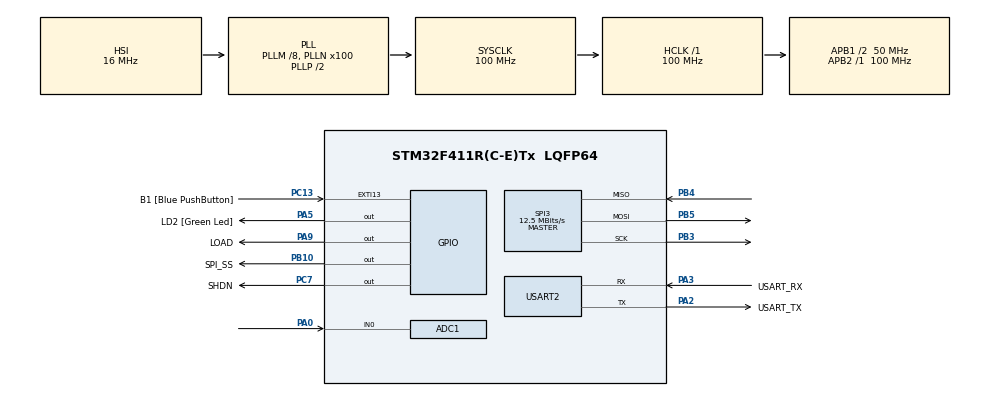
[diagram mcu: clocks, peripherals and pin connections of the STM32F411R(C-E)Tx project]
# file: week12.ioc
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Mcu.Family=STM32F4
PB10.PinState=GPIO_PIN_SET
RCC.CortexFreq_Value=100000000
SPI3.Direction=SPI_DIRECTION_2LINES
SPI3.VirtualType=VM_MASTER
PA14.GPIO_Label=TCK
RCC.SYSCLKSource=RCC_SYSCLKSOURCE_PLLCLK
ProjectManager.StackSize=0x400
NVIC.ADC_IRQn=true\:0\:0\:false\:false\:true\:true\:true
PH0\ -\ OSC_IN.Signal=RCC_OSC_IN
RCC.HCLKFreq_Value=100000000
RCC.APB2TimFreq_Value=100000000
TIM3.Period=100
Dma.ADC1.0.Direction=DMA_PERIPH_TO_MEMORY
PC7.Signal=GPIO_Output
NVIC.DMA2_Stream0_IRQn=true\:0\:0\:false\:false\:true\:false\:true
Dma.ADC1.0.MemDataAlignment=DMA_MDATAALIGN_HALFWORD
RCC.AHBFreq_Value=100000000
SPI3.DataSize=SPI_DATASIZE_16BIT
ADC1.Channel-0\#ChannelRegularConversion=ADC_CHANNEL_0
NVIC.TIM1_TRG_COM_TIM11_IRQn=true\:0\:0\:false\:false\:true\:true\:true
RCC.HSE_VALUE=8000000
PB3.Mode=Full_Duplex_Master
ADC1.ScanConvMode=ENABLE
PC13-ANTI_TAMP.Signal=GPXTI13
PB4.Mode=Full_Duplex_Master
PC14-OSC32_IN.Mode=LSE-External-Oscillator
PA14.Mode=Serial_Wire
TIM3.Prescaler=99
Dma.ADC1.0.PeriphInc=DMA_PINC_DISABLE
PB5.Mode=Full_Duplex_Master
PC7.PinState=GPIO_PIN_SET
SH.ADCx_IN0.0=ADC1_IN0,IN0
ADC1.SamplingTime-0\#ChannelRegularConversion=ADC_SAMPLETIME_3CYCLES
RCC.FLatency-AdvancedSettings=FLASH_LATENCY_3
Mcu.Package=LQFP64
SPI3.Mode=SPI_MODE_MASTER
USART2.VirtualMode=VM_ASYNC
PA2.GPIO_Label=USART_TX
NVIC.SPI3_IRQn=true\:0\:0\:false\:false\:true\:true\:true
RCC.APB1TimFreq_Value=100000000
Dma.ADC1.0.FIFOMode=DMA_FIFOMODE_DISABLE
Dma.Request0=ADC1
VP_TIM3_VS_ClockSourceINT.Mode=Internal
PB4.Signal=SPI3_MISO
PA3.Signal=USART2_RX
PC15-OSC32_OUT.Mode=LSE-External-Oscillator
Dma.ADC1.0.Instance=DMA2_Stream0
ADC1.Rank-0\#ChannelRegularConversion=1
PC13-ANTI_TAMP.GPIO_Label=B1 [Blue PushButton]
PA9.GPIO_Label=LOAD
PH1\ -\ OSC_OUT.Mode=HSE-External-Clock-Source
TIM11.Prescaler=99
RCC.APB1CLKDivider=RCC_HCLK_DIV2
PC14-OSC32_IN.Signal=RCC_OSC32_IN
NVIC.USART2_IRQn=true\:0\:0\:false\:false\:true\:true\:true
PA0-WKUP.Signal=ADCx_IN0
VP_TIM11_VS_ClockSourceINT.Mode=Enable_Timer
PA13.Signal=SYS_JTMS-SWDIO
PA3.Mode=Asynchronous
Dma.ADC1.0.PeriphDataAlignment=DMA_PDATAALIGN_HALFWORD
PH0\ -\ OSC_IN.Mode=HSE-External-Clock-Source
ProjectManager.TargetToolchain=STM32CubeIDE
PB10.GPIO_Label=SPI_SS
Dma.ADC1.0.Mode=DMA_CIRCULAR
Dma.ADC1.0.Priority=DMA_PRIORITY_LOW
PA9.Signal=GPIO_Output
PA9.PinState=GPIO_PIN_SET
PC15-OSC32_OUT.Signal=RCC_OSC32_OUT
PB10.Signal=GPIO_Output
PA5.Signal=GPIO_Output
PH1\ -\ OSC_OUT.Signal=RCC_OSC_OUT
board=NUCLEO-F411RE
RCC.VCOOutputFreq_Value=200000000
RCC.APB2Freq_Value=100000000
SPI3.CalculateBaudRate=12.5 MBits/s
SPI3.BaudRatePrescaler=SPI_BAUDRATEPRESCALER_4
ADC1.DMAContinuousRequests=ENABLE
ADC1.NbrOfConversion=1
PA13.Mode=Serial_Wire
Mcu.Name=STM32F411R(C-E)Tx
PA2.Signal=USART2_TX
PA13.GPIO_Label=TMS
ADC1.ExternalTrigConv=ADC_EXTERNALTRIGCONV_T3_TRGO
PC7.GPIO_Label=SHDN
RCC.48MHZClocksFreq_Value=50000000
PB3.Signal=SPI3_SCK
RCC.SYSCLKFreq_VALUE=100000000
PB5.Signal=SPI3_MOSI
ADC1.master=1
PA5.GPIO_Label=LD2 [Green Led]
PC13-ANTI_TAMP.GPIO_ModeDefaultEXTI=GPIO_MODE_IT_FALLING
PA14.Signal=SYS_JTCK-SWCLK
Dma.ADC1.0.MemInc=DMA_MINC_ENABLE
ProjectManager.HeapSize=0x200
RCC.HSI_VALUE=16000000
NVIC.PriorityGroup=NVIC_PRIORITYGROUP_0
ADC1.NbrOfConversionFlag=1
RCC.PLLM=8
RCC.PLLN=100
PA2.Mode=Asynchronous
TIM3.TIM_MasterOutputTrigger=TIM_TRGO_UPDATE
RCC.APB1Freq_Value=50000000
PA3.GPIO_Label=USART_RX

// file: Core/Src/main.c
/* USER CODE BEGIN Header */
/**
 ******************************************************************************
 * @file           : main.c
 * @brief          : Main program body
 ******************************************************************************
 * @attention
 *
 * <h2><center>&copy; Copyright (c) 2021 STMicroelectronics.
 * All rights reserved.</center></h2>
 *
 * This software component is licensed by ST under BSD 3-Clause license,
 * the "License"; You may not use this file except in compliance with the
 * License. You may obtain a copy of the License at:
 *                        opensource.org/licenses/BSD-3-Clause
 *
 ******************************************************************************
 */
/* USER CODE END Header */
#include "main.h"

/* USER CODE BEGIN Includes */
#include <math.h>//sin cos
#include <stdio.h> //sprintf
#include <string.h>//strlen
/* USER CODE END Includes */

ADC_HandleTypeDef hadc1;
DMA_HandleTypeDef hdma_adc1;

SPI_HandleTypeDef hspi3;

TIM_HandleTypeDef htim3;
TIM_HandleTypeDef htim11;

UART_HandleTypeDef huart2;

/* USER CODE BEGIN PV */
uint8_t DACConfig = 0b0011;
uint8_t State 		=1 ;
uint8_t Mode		=0 ;
uint8_t Slope		= 1;
uint8_t	Duty_C		=50;

uint16_t ADCin 		= 0;
uint16_t dataOut	= 0;

uint64_t _micro 	= 0;

float Freq 			= 1;
float Freq_Saw 		= 1;
float Freq_Sin  	= 1;
float Freq_Square 	= 1;
float VHigh_Sin 	=3.3;
float VLow_Sin		=0;
float VHigh_Square 	=3.3;
float VLow_Square	=0;
float VHigh_Saw 	=3.3;
float VLow_Saw		=0;
float Time 			=0.0;
float Rad			=0;
float Amp			=0;
float Ver_Shift		=0;
float Period_High	=0;
int Sum_Freq 		=0;
//upper 4 bit of DAC

char TxDataBuffer[32] 	={0};
char RxDataBuffer[32] 	={0};
char Menu[1000] 		={0};

enum{
	Start_Menu 				= 1,
	Waitting_Input 			= 10,
	Menu_1 					= 20,
	Menu_1_Waitting_Input	= 30,
	Menu_2 					= 40,
	Menu_2_Waitting_Input	= 50,
	Menu_3 					= 60,
	Menu_3_Waitting_Input	= 70,
};

/* USER CODE END PV */

void SystemClock_Config(void);
static void MX_GPIO_Init(void);
static void MX_DMA_Init(void);
static void MX_USART2_UART_Init(void);
static void MX_ADC1_Init(void);
static void MX_SPI3_Init(void);
static void MX_TIM3_Init(void);
static void MX_TIM11_Init(void);
/* USER CODE BEGIN PFP */
void UARTRecieveAndResponsePolling();
int16_t UARTRecieveIT();
void MCP4922SetOutput(uint8_t Config, uint16_t DACOutput);
uint64_t micros();
/* USER CODE END PFP */

int main(void)
{

  /* MCU Configuration--------------------------------------------------------*/

  /* Reset of all peripherals, Initializes the Flash interface and the Systick. */
  HAL_Init();

  /* Configure the system clock */
  SystemClock_Config();

  /* Initialize all configured peripherals */
  MX_GPIO_Init();
  MX_DMA_Init();
  MX_USART2_UART_Init();
  MX_ADC1_Init();
  MX_SPI3_Init();
  MX_TIM3_Init();
  MX_TIM11_Init();
  /* USER CODE BEGIN 2 */
	HAL_TIM_Base_Start(&htim3);
	HAL_TIM_Base_Start_IT(&htim11);
	HAL_ADC_Start_DMA(&hadc1, (uint32_t*) &ADCin, 1);

	HAL_GPIO_WritePin(LOAD_GPIO_Port, LOAD_Pin, GPIO_PIN_RESET);
  /* USER CODE END 2 */

  /* Infinite loop */
  /* USER CODE BEGIN WHILE */

	while (1)
	{
		/*Method 2 Interrupt Mode*/
		HAL_UART_Receive_IT(&huart2,  (uint8_t*)RxDataBuffer, 64);

		/*Method 2 W/ 1 Char Received*/
		int16_t inputchar = UARTRecieveIT();
		if(inputchar!=-1)
		{
			//Display Input
			sprintf(TxDataBuffer, "%c\r\n", inputchar);
			HAL_UART_Transmit(&huart2, (uint8_t*)TxDataBuffer, strlen(TxDataBuffer), 1000);
		}
//..............................................................Calculate Menu...........................................................................

		static uint64_t timestamp = 0;
		if (micros() - timestamp > 10000){
			timestamp = micros();
			Time +=0.01;

//..............................................................Calculate Sawtooth Wave...........................................................................

			if(Mode == 1 ){
				if(Slope==1){
					if(Time <= (1/Freq_Saw)){
						dataOut = (((VHigh_Saw*(4096.0/3.3))-(VLow_Saw*(4096.0/3.3)))/(1/Freq_Saw))*Time + (VLow_Saw*(4096.0/3.3));
					}
					else{
						Time = 0.0;
					}
				}
				else{
					if(Time <= (1/Freq_Saw)){
						dataOut = (((VLow_Saw*(4096.0/3.3))-(VHigh_Saw*(4096.0/3.3)))/(1/Freq_Saw))*Time + (VHigh_Saw*(4096.0/3.3));
					}
					else{
						Time = 0.0;
					}
				}
			}

//..............................................................Calculate Sine Wave...........................................................................

			if(Mode == 2)
			{
				Rad += 0.01;
				Amp =((VHigh_Sin*(4096.0/3.3))-(VLow_Sin*(4096.0/3.3)))/2;
				Ver_Shift =((VHigh_Sin*(4096.0/3.3))+(VLow_Sin*(4096.0/3.3)))/2;
				dataOut = (Amp)*sin(2*M_PI*Freq_Sin*Rad)+(Ver_Shift);
			}

//..............................................................Calculate Square Wave...........................................................................

			if(Mode == 3){
				Period_High = Duty_C/(Freq_Square*100.0);
				if(Time <= Period_High){
					dataOut = VHigh_Square*(4096.0/3.3);
				}
				else if(Time > Period_High && Time <=(1/Freq_Square)){
					dataOut = VLow_Square*(4096.0/3.3);
				}

				else {
					Time =0.0 ;
				}
			}

			if (hspi3.State == HAL_SPI_STATE_READY && HAL_GPIO_ReadPin(SPI_SS_GPIO_Port, SPI_SS_Pin) == GPIO_PIN_SET){
				MCP4922SetOutput(DACConfig, dataOut);
			}
		}

//..............................................................Main Menu...........................................................................

		switch(State){
			case Start_Menu:
				sprintf(Menu, "\n\n\n\n\n\nSELECT GENERATOR WAVE\r\n "
						"1.Sawtooth	Wave\n\r "
						"2.Sine   	Wave\n\r "
						"3.Square 	Wave\n\r");
				HAL_UART_Transmit(&huart2, (uint8_t*)Menu, strlen(Menu), 1000);
				State = Waitting_Input;
				break;
			case Waitting_Input:
				switch(inputchar)
				{
				case -1:  //No Input
					break;
				case '1':
					Mode =1;
					State = Menu_1;
					break;
				case '2':
					Mode =2;
					State = Menu_2;
					break;
				case '3':
					Mode =3;
					State = Menu_3;
					break;
				default:
					sprintf(Menu, "Error! You can press only 1. 2. or 3.\r\n");
					HAL_UART_Transmit(&huart2, (uint8_t*)Menu, strlen(Menu), 1000);
					break;
				}
				break;

//..............................................................Generator Sawtooth Wave .............................................................

				case Menu_1:
				sprintf(Menu, 	"\n\nGenerator Sawtooth Wave \r\n"
						"a.Freq Up   (+1Hz) 	A.(+0.1Hz)\r\n"
						"d.Freq Down (-1Hz) 	D.(-0.1Hz)\r\n"
						"\n"
						"q.V High Up (+0.1V)	w.V High Down (-0.1V)\r\n"
						"e.V Low  Up (+0.1V)	r.V Low  Down (-0.1V)\r\n"
						"\n"
						"z.Slope Up		c.Slope down\r\n"
						"p.Print All\r\n"
						"x.Back\r\n");
					HAL_UART_Transmit(&huart2, (uint8_t*)Menu, strlen(Menu), 1000);
					State = Menu_1_Waitting_Input;
					break;

//..............................................................Menu Sawtooth Wave .............................................................

			case Menu_1_Waitting_Input :
				switch(inputchar){
				case -1:  //No Input
					break;
				case 'z':
					Slope = 1;
					sprintf(Menu, "Slope down\r\n");
					HAL_UART_Transmit(&huart2, (uint8_t*)Menu, strlen(Menu), 1000);
					break;
				case 'c':
					Slope = -1;
					sprintf(Menu, "Slope up\r\n");
					HAL_UART_Transmit(&huart2, (uint8_t*)Menu, strlen(Menu), 1000);
					break;

				case 'a':
					if(Freq_Saw>9){
						Freq_Saw =10 ;
					}
					else {
						Freq_Saw+=1;
					}
					sprintf(Menu, "Frequency of Sawtooth Wave :%.1f\r\n",Freq_Saw);
					HAL_UART_Transmit(&huart2, (uint8_t*)Menu, strlen(Menu), 1000);
					break;
				case 'd':
					if(Freq_Saw<1){
						Freq_Saw =0 ;
					}
					else {
						Freq_Saw-=1;
					}
					sprintf(Menu, "Frequency of Sawtooth Wave :%.1f\r\n",Freq_Saw);
					HAL_UART_Transmit(&huart2, (uint8_t*)Menu, strlen(Menu), 1000);
					break;

				case 'A':
					if(Freq_Saw>9.9){
						Freq_Saw =10 ;
					}
					else {
						Freq_Saw+=0.1;
					}
					sprintf(Menu, "Frequency of Sawtooth Wave :%.1f\r\n",Freq_Saw);
					HAL_UART_Transmit(&huart2, (uint8_t*)Menu, strlen(Menu), 1000);
					break;
				case 'D':
					if(Freq_Saw<0.1){
						Freq_Saw =0 ;
					}
					else {
						Freq_Saw-=0.1;
					}
					sprintf(Menu, "Frequency of Sawtooth Wave :%.1f\r\n",Freq_Saw);
					HAL_UART_Transmit(&huart2, (uint8_t*)Menu, strlen(Menu), 1000);
					break;

				case 'q':
					if (VHigh_Saw>3.2){
						VHigh_Saw=3.3;
					}
					else{
						VHigh_Saw +=0.1;
					}
					sprintf(Menu, "V High :%.1f\r\n",VHigh_Saw);
					HAL_UART_Transmit(&huart2, (uint8_t*)Menu, strlen(Menu), 1000);
					break;
				case 'w':
					if (VHigh_Saw<VLow_Saw+0.1){
						VHigh_Saw=VLow_Saw;
					}
					else{
						VHigh_Saw -=0.1;
					}
					sprintf(Menu, "V High :%.1f\r\n",VHigh_Saw);
					HAL_UART_Transmit(&huart2, (uint8_t*)Menu, strlen(Menu), 1000);
					break;

				case 'e':
					if (VLow_Saw>VHigh_Saw-0.1){
						VLow_Saw=VHigh_Saw;
					}
					else{
						VLow_Saw +=0.1;
					}
					sprintf(Menu, "V Low :%.1f\r\n",VLow_Saw);
					HAL_UART_Transmit(&huart2, (uint8_t*)Menu, strlen(Menu), 1000);
					break;
				case 'r':
					if (VLow_Saw<0.1){
						VLow_Saw=0;
					}
					else{
						VLow_Saw -=0.1;
					}
					sprintf(Menu, "V Low :%.1f\r\n",VLow_Saw);
					HAL_UART_Transmit(&huart2, (uint8_t*)Menu, strlen(Menu), 1000);
					break;

				case 'p':
					sprintf(Menu, "Frequency of Sawtooth Wave :%.1f\r\n",Freq_Saw);
					HAL_UART_Transmit(&huart2, (uint8_t*)Menu, strlen(Menu), 1000);
					sprintf(Menu, "V High :%.1f\r\n",VHigh_Saw);
					HAL_UART_Transmit(&huart2, (uint8_t*)Menu, strlen(Menu), 1000);
					sprintf(Menu, "V Low :%.1f\r\n",VLow_Saw);
					HAL_UART_Transmit(&huart2, (uint8_t*)Menu, strlen(Menu), 1000);
					break;
				case 'x':
					State = Start_Menu;
					break;
				default:
					sprintf(Menu, "Error!\r\n");
					HAL_UART_Transmit(&huart2, (uint8_t*)Menu, strlen(Menu), 1000);
					break;
					}
				break;

//..............................................................Generator Sine Wave .............................................................

			case Menu_2:
				sprintf(Menu, 	"\n\nGenerator Sine Wave \r\n"
						"a.Freq Up   (+1Hz) 	A.(+0.1Hz)\r\n"
						"d.Freq Down (-1Hz) 	D.(-0.1Hz)\r\n"
						"\n"
						"q.V High Up (+0.1V)	w.V High Down (-0.1V)\r\n"
						"e.V Low  Up (+0.1V)	r.V Low  Down (-0.1V)\r\n"
						"\n"
						"p.Print All\r\n"
						"x.Back\r\n");
					HAL_UART_Transmit(&huart2, (uint8_t*)Menu, strlen(Menu), 1000);
					State = Menu_2_Waitting_Input;
					break;

//..............................................................Menu Sine Wave .............................................................

			case Menu_2_Waitting_Input :		//Sine Wave
				switch(inputchar){
				case -1:  //No Input
					break;
				case 'a':
					if(Freq_Sin>9){
						Freq_Sin =10 ;
					}
					else {
						Freq_Sin+=1;
					}
					sprintf(Menu, "Frequency of Sawtooth Wave :%.1f\r\n",Freq_Sin);
					HAL_UART_Transmit(&huart2, (uint8_t*)Menu, strlen(Menu), 1000);
					break;
				case 'd':
					if(Freq_Sin<1){
						Freq_Sin =0 ;
					}
					else {
						Freq_Sin-=1;
					}
					sprintf(Menu, "Frequency of Sawtooth Wave :%.1f\r\n",Freq_Sin);
					HAL_UART_Transmit(&huart2, (uint8_t*)Menu, strlen(Menu), 1000);
					break;

				case 'A':
					if(Freq_Sin>9.9){
						Freq_Sin =10 ;
					}
					else {
						Freq_Sin+=0.1;
					}
					sprintf(Menu, "Frequency of Sawtooth Wave :%.1f\r\n",Freq_Sin);
					HAL_UART_Transmit(&huart2, (uint8_t*)Menu, strlen(Menu), 1000);
					break;
				case 'D':
					if(Freq_Sin<0.1){
						Freq_Sin =0 ;
					}
					else {
						Freq_Sin-=0.1;
					}
					sprintf(Menu, "Frequency of Sawtooth Wave :%.1f\r\n",Freq_Sin);
					HAL_UART_Transmit(&huart2, (uint8_t*)Menu, strlen(Menu), 1000);
					break;

				case 'q':
					if (VHigh_Sin>3.2){
						VHigh_Sin=3.3;
					}
					else{
						VHigh_Sin +=0.1;
					}
					sprintf(Menu, "V High :%.1f\r\n",VHigh_Sin);
					HAL_UART_Transmit(&huart2, (uint8_t*)Menu, strlen(Menu), 1000);
					break;
				case 'w':
					if (VHigh_Sin<VLow_Sin+0.1){
						VHigh_Sin=VLow_Sin;
					}
					else{
						VHigh_Sin -=0.1;
					}
					sprintf(Menu, "V High :%.1f\r\n",VHigh_Sin);
					HAL_UART_Transmit(&huart2, (uint8_t*)Menu, strlen(Menu), 1000);
					break;

				case 'e':
					if (VLow_Sin>VHigh_Sin-0.1){
						VLow_Sin=VHigh_Sin;
					}
					else{
						VLow_Sin +=0.1;
					}
					sprintf(Menu, "V Low :%.1f\r\n",VLow_Sin);
					HAL_UART_Transmit(&huart2, (uint8_t*)Menu, strlen(Menu), 1000);
					break;
				case 'r':
					if (VLow_Sin<0.1){
						VLow_Sin=0;
					}
					else{
						VLow_Sin -=0.1;
					}
					sprintf(Menu, "V Low :%.1f\r\n",VLow_Sin);
					HAL_UART_Transmit(&huart2, (uint8_t*)Menu, strlen(Menu), 1000);
					break;

				case 'p':
					sprintf(Menu, "Frequency of Sin Wave :%.1f\r\n",Freq_Sin);
					HAL_UART_Transmit(&huart2, (uint8_t*)Menu, strlen(Menu), 1000);
					sprintf(Menu, "V High :%.1f\r\n",VHigh_Sin);
					HAL_UART_Transmit(&huart2, (uint8_t*)Menu, strlen(Menu), 1000);
					sprintf(Menu, "V Low :%.1f\r\n",VLow_Sin);
					HAL_UART_Transmit(&huart2, (uint8_t*)Menu, strlen(Menu), 1000);
					break;

				case 'x':
					State = Start_Menu;
					break;
				default:
					sprintf(Menu, "Error!\r\n");
					HAL_UART_Transmit(&huart2, (uint8_t*)Menu, strlen(Menu), 1000);
					break;
					}
				break;

//..............................................................Generator Square Wave .............................................................

			case Menu_3:
				sprintf(Menu, 	"\n\nGenerator Square Wave \r\n"
						"a.Freq Up   (+1Hz) 	A.(+0.1Hz)\r\n"
						"d.Freq Down (-1Hz) 	D.(-0.1Hz)\r\n"
						"\n"
						"q.V High Up (+0.1V)	w.V High Down (-0.1V)\r\n"
						"e.V Low  Up (+0.1V)	r.V Low  Down (-0.1V)\r\n"
						"\n"
						"z.Duty cycle up (+10 Percent)	c.Duty cycle up (-10 Percent)\r\n"
						"p.Print All\r\n"
						"x.Back\r\n");
					HAL_UART_Transmit(&huart2, (uint8_t*)Menu, strlen(Menu), 1000);
					State = Menu_3_Waitting_Input;
					break;

//..............................................................Menu Square Wave .............................................................

			case Menu_3_Waitting_Input :
				switch(inputchar){
				case -1:  //No Input
					break;

				case 'z':
					if(Duty_C > 90){
						Duty_C = 100;
					}
					else{
						Duty_C += 10;
					}
					sprintf(Menu, "Duty_Cycle :%d\r\n",Duty_C);
					HAL_UART_Transmit(&huart2, (uint8_t*)Menu, strlen(Menu), 1000);
					break;
				case 'c':
					if(Duty_C < 10){
						Duty_C = 0;
					}
					else{
						Duty_C -= 10;
					}
					sprintf(Menu, "Duty_Cycle :%d\r\n",Duty_C);
					HAL_UART_Transmit(&huart2, (uint8_t*)Menu, strlen(Menu), 1000);
					break;

				case 'a':
					if(Freq_Square>9){
						Freq_Square =10 ;
					}
					else {
						Freq_Square+=1;
					}
					sprintf(Menu, "Frequency of Sawtooth Wave :%.1f\r\n",Freq_Square);
					HAL_UART_Transmit(&huart2, (uint8_t*)Menu, strlen(Menu), 1000);
					break;
				case 'd':
					if(Freq_Square<1){
						Freq_Square =0 ;
					}
					else {
						Freq_Square-=1;
					}
					sprintf(Menu, "Frequency of Sawtooth Wave :%.1f\r\n",Freq_Square);
					HAL_UART_Transmit(&huart2, (uint8_t*)Menu, strlen(Menu), 1000);
					break;

				case 'A':
					if(Freq_Square>9.9){
						Freq_Square =10 ;
					}
					else {
						Freq_Square+=0.1;
					}
					sprintf(Menu, "Frequency of Sawtooth Wave :%.1f\r\n",Freq_Square);
					HAL_UART_Transmit(&huart2, (uint8_t*)Menu, strlen(Menu), 1000);
					break;
				case 'D':
					if(Freq_Square<0.1){
						Freq_Square =0 ;
					}
					else {
						Freq_Square-=0.1;
					}
					sprintf(Menu, "Frequency of Sawtooth Wave :%.1f\r\n",Freq_Square);
					HAL_UART_Transmit(&huart2, (uint8_t*)Menu, strlen(Menu), 1000);
					break;

				case 'q':
					if (VHigh_Square>3.2){
						VHigh_Square=3.3;
					}
					else{
						VHigh_Saw +=0.1;
					}
					sprintf(Menu, "V High :%.1f\r\n",VHigh_Square);
					HAL_UART_Transmit(&huart2, (uint8_t*)Menu, strlen(Menu), 1000);
					break;
				case 'w':
					if (VHigh_Square<VLow_Saw+0.1){
						VHigh_Square=VLow_Saw;
					}
					else{
						VHigh_Square -=0.1;
					}
					sprintf(Menu, "V High :%.1f\r\n",VHigh_Square);
					HAL_UART_Transmit(&huart2, (uint8_t*)Menu, strlen(Menu), 1000);
					break;

				case 'e':
					if (VLow_Square>VHigh_Square-0.1){
						VLow_Square=VHigh_Square;
					}
					else{
						VLow_Square +=0.1;
					}
					sprintf(Menu, "V Low :%.1f\r\n",VLow_Square);
					HAL_UART_Transmit(&huart2, (uint8_t*)Menu, strlen(Menu), 1000);
					break;
				case 'r':
					if (VLow_Square<0.1){
						VLow_Square=0;
					}
					else{
						VLow_Square -=0.1;
					}
					sprintf(Menu, "V Low :%.1f\r\n",VLow_Square);
					HAL_UART_Transmit(&huart2, (uint8_t*)Menu, strlen(Menu), 1000);
					break;

				case 'p':
					sprintf(Menu, "Frequency of Square Wave :%.1f\r\n",Freq_Square);
					HAL_UART_Transmit(&huart2, (uint8_t*)Menu, strlen(Menu), 1000);
					sprintf(Menu, "V High :%.1f\r\n",VHigh_Square);
					HAL_UART_Transmit(&huart2, (uint8_t*)Menu, strlen(Menu), 1000);
					sprintf(Menu, "V Low :%.1f\r\n",VLow_Square);
					HAL_UART_Transmit(&huart2, (uint8_t*)Menu, strlen(Menu), 1000);
					break;

				case 'x':
					State = Start_Menu;
					break;
				default:
					sprintf(Menu, "Error!\r\n");
					HAL_UART_Transmit(&huart2, (uint8_t*)Menu, strlen(Menu), 1000);
					break;
					}
				break;
		}

    /* USER CODE END WHILE */

	}
}

void SystemClock_Config(void)
{
  RCC_OscInitTypeDef RCC_OscInitStruct = {0};
  RCC_ClkInitTypeDef RCC_ClkInitStruct = {0};

  /** Configure the main internal regulator output voltage
  */
  __HAL_RCC_PWR_CLK_ENABLE();
  __HAL_PWR_VOLTAGESCALING_CONFIG(PWR_REGULATOR_VOLTAGE_SCALE1);
  /** Initializes the RCC Oscillators according to the specified parameters
  * in the RCC_OscInitTypeDef structure.
  */
  RCC_OscInitStruct.OscillatorType = RCC_OSCILLATORTYPE_HSI;
  RCC_OscInitStruct.HSIState = RCC_HSI_ON;
  RCC_OscInitStruct.HSICalibrationValue = RCC_HSICALIBRATION_DEFAULT;
  RCC_OscInitStruct.PLL.PLLState = RCC_PLL_ON;
  RCC_OscInitStruct.PLL.PLLSource = RCC_PLLSOURCE_HSI;
  RCC_OscInitStruct.PLL.PLLM = 8;
  RCC_OscInitStruct.PLL.PLLN = 100;
  RCC_OscInitStruct.PLL.PLLP = RCC_PLLP_DIV2;
  RCC_OscInitStruct.PLL.PLLQ = 4;
  if (HAL_RCC_OscConfig(&RCC_OscInitStruct) != HAL_OK)
  {
    Error_Handler();
  }
  /** Initializes the CPU, AHB and APB buses clocks
  */
  RCC_ClkInitStruct.ClockType = RCC_CLOCKTYPE_HCLK|RCC_CLOCKTYPE_SYSCLK
                              |RCC_CLOCKTYPE_PCLK1|RCC_CLOCKTYPE_PCLK2;
  RCC_ClkInitStruct.SYSCLKSource = RCC_SYSCLKSOURCE_PLLCLK;
  RCC_ClkInitStruct.AHBCLKDivider = RCC_SYSCLK_DIV1;
  RCC_ClkInitStruct.APB1CLKDivider = RCC_HCLK_DIV2;
  RCC_ClkInitStruct.APB2CLKDivider = RCC_HCLK_DIV1;

  if (HAL_RCC_ClockConfig(&RCC_ClkInitStruct, FLASH_LATENCY_3) != HAL_OK)
  {
    Error_Handler();
  }
}

static void MX_ADC1_Init(void)
{

  ADC_ChannelConfTypeDef sConfig = {0};

  /** Configure the global features of the ADC (Clock, Resolution, Data Alignment and number of conversion)
  */
  hadc1.Instance = ADC1;
  hadc1.Init.ClockPrescaler = ADC_CLOCK_SYNC_PCLK_DIV4;
  hadc1.Init.Resolution = ADC_RESOLUTION_12B;
  hadc1.Init.ScanConvMode = ENABLE;
  hadc1.Init.ContinuousConvMode = DISABLE;
  hadc1.Init.DiscontinuousConvMode = DISABLE;
  hadc1.Init.ExternalTrigConvEdge = ADC_EXTERNALTRIGCONVEDGE_RISING;
  hadc1.Init.ExternalTrigConv = ADC_EXTERNALTRIGCONV_T3_TRGO;
  hadc1.Init.DataAlign = ADC_DATAALIGN_RIGHT;
  hadc1.Init.NbrOfConversion = 1;
  hadc1.Init.DMAContinuousRequests = ENABLE;
  hadc1.Init.EOCSelection = ADC_EOC_SINGLE_CONV;
  if (HAL_ADC_Init(&hadc1) != HAL_OK)
  {
    Error_Handler();
  }
  /** Configure for the selected ADC regular channel its corresponding rank in the sequencer and its sample time.
  */
  sConfig.Channel = ADC_CHANNEL_0;
  sConfig.Rank = 1;
  sConfig.SamplingTime = ADC_SAMPLETIME_3CYCLES;
  if (HAL_ADC_ConfigChannel(&hadc1, &sConfig) != HAL_OK)
  {
    Error_Handler();
  }

}

static void MX_SPI3_Init(void)
{

  /* SPI3 parameter configuration*/
  hspi3.Instance = SPI3;
  hspi3.Init.Mode = SPI_MODE_MASTER;
  hspi3.Init.Direction = SPI_DIRECTION_2LINES;
  hspi3.Init.DataSize = SPI_DATASIZE_16BIT;
  hspi3.Init.CLKPolarity = SPI_POLARITY_LOW;
  hspi3.Init.CLKPhase = SPI_PHASE_1EDGE;
  hspi3.Init.NSS = SPI_NSS_SOFT;
  hspi3.Init.BaudRatePrescaler = SPI_BAUDRATEPRESCALER_4;
  hspi3.Init.FirstBit = SPI_FIRSTBIT_MSB;
  hspi3.Init.TIMode = SPI_TIMODE_DISABLE;
  hspi3.Init.CRCCalculation = SPI_CRCCALCULATION_DISABLE;
  hspi3.Init.CRCPolynomial = 10;
  if (HAL_SPI_Init(&hspi3) != HAL_OK)
  {
    Error_Handler();
  }

}

static void MX_TIM3_Init(void)
{

  TIM_ClockConfigTypeDef sClockSourceConfig = {0};
  TIM_MasterConfigTypeDef sMasterConfig = {0};

  htim3.Instance = TIM3;
  htim3.Init.Prescaler = 99;
  htim3.Init.CounterMode = TIM_COUNTERMODE_UP;
  htim3.Init.Period = 100;
  htim3.Init.ClockDivision = TIM_CLOCKDIVISION_DIV1;
  htim3.Init.AutoReloadPreload = TIM_AUTORELOAD_PRELOAD_DISABLE;
  if (HAL_TIM_Base_Init(&htim3) != HAL_OK)
  {
    Error_Handler();
  }
  sClockSourceConfig.ClockSource = TIM_CLOCKSOURCE_INTERNAL;
  if (HAL_TIM_ConfigClockSource(&htim3, &sClockSourceConfig) != HAL_OK)
  {
    Error_Handler();
  }
  sMasterConfig.MasterOutputTrigger = TIM_TRGO_UPDATE;
  sMasterConfig.MasterSlaveMode = TIM_MASTERSLAVEMODE_DISABLE;
  if (HAL_TIMEx_MasterConfigSynchronization(&htim3, &sMasterConfig) != HAL_OK)
  {
    Error_Handler();
  }

}

static void MX_TIM11_Init(void)
{

  htim11.Instance = TIM11;
  htim11.Init.Prescaler = 99;
  htim11.Init.CounterMode = TIM_COUNTERMODE_UP;
  htim11.Init.Period = 65535;
  htim11.Init.ClockDivision = TIM_CLOCKDIVISION_DIV1;
  htim11.Init.AutoReloadPreload = TIM_AUTORELOAD_PRELOAD_DISABLE;
  if (HAL_TIM_Base_Init(&htim11) != HAL_OK)
  {
    Error_Handler();
  }

}

static void MX_USART2_UART_Init(void)
{

  huart2.Instance = USART2;
  huart2.Init.BaudRate = 115200;
  huart2.Init.WordLength = UART_WORDLENGTH_8B;
  huart2.Init.StopBits = UART_STOPBITS_1;
  huart2.Init.Parity = UART_PARITY_NONE;
  huart2.Init.Mode = UART_MODE_TX_RX;
  huart2.Init.HwFlowCtl = UART_HWCONTROL_NONE;
  huart2.Init.OverSampling = UART_OVERSAMPLING_16;
  if (HAL_UART_Init(&huart2) != HAL_OK)
  {
    Error_Handler();
  }

}

static void MX_DMA_Init(void)
{

  /* DMA controller clock enable */
  __HAL_RCC_DMA2_CLK_ENABLE();

  /* DMA interrupt init */
  /* DMA2_Stream0_IRQn interrupt configuration */
  HAL_NVIC_SetPriority(DMA2_Stream0_IRQn, 0, 0);
  HAL_NVIC_EnableIRQ(DMA2_Stream0_IRQn);

}

static void MX_GPIO_Init(void)
{
  GPIO_InitTypeDef GPIO_InitStruct = {0};

  /* GPIO Ports Clock Enable */
  __HAL_RCC_GPIOC_CLK_ENABLE();
  __HAL_RCC_GPIOH_CLK_ENABLE();
  __HAL_RCC_GPIOA_CLK_ENABLE();
  __HAL_RCC_GPIOB_CLK_ENABLE();

  /*Configure GPIO pin Output Level */
  HAL_GPIO_WritePin(LD2_GPIO_Port, LD2_Pin, GPIO_PIN_RESET);

  /*Configure GPIO pin Output Level */
  HAL_GPIO_WritePin(SPI_SS_GPIO_Port, SPI_SS_Pin, GPIO_PIN_SET);

  /*Configure GPIO pin Output Level */
  HAL_GPIO_WritePin(SHDN_GPIO_Port, SHDN_Pin, GPIO_PIN_SET);

  /*Configure GPIO pin Output Level */
  HAL_GPIO_WritePin(LOAD_GPIO_Port, LOAD_Pin, GPIO_PIN_SET);

  /*Configure GPIO pin : B1_Pin */
  GPIO_InitStruct.Pin = B1_Pin;
  GPIO_InitStruct.Mode = GPIO_MODE_IT_FALLING;
  GPIO_InitStruct.Pull = GPIO_NOPULL;
  HAL_GPIO_Init(B1_GPIO_Port, &GPIO_InitStruct);

  /*Configure GPIO pins : LD2_Pin LOAD_Pin */
  GPIO_InitStruct.Pin = LD2_Pin|LOAD_Pin;
  GPIO_InitStruct.Mode = GPIO_MODE_OUTPUT_PP;
  GPIO_InitStruct.Pull = GPIO_NOPULL;
  GPIO_InitStruct.Speed = GPIO_SPEED_FREQ_LOW;
  HAL_GPIO_Init(GPIOA, &GPIO_InitStruct);

  /*Configure GPIO pin : SPI_SS_Pin */
  GPIO_InitStruct.Pin = SPI_SS_Pin;
  GPIO_InitStruct.Mode = GPIO_MODE_OUTPUT_PP;
  GPIO_InitStruct.Pull = GPIO_NOPULL;
  GPIO_InitStruct.Speed = GPIO_SPEED_FREQ_LOW;
  HAL_GPIO_Init(SPI_SS_GPIO_Port, &GPIO_InitStruct);

  /*Configure GPIO pin : SHDN_Pin */
  GPIO_InitStruct.Pin = SHDN_Pin;
  GPIO_InitStruct.Mode = GPIO_MODE_OUTPUT_PP;
  GPIO_InitStruct.Pull = GPIO_NOPULL;
  GPIO_InitStruct.Speed = GPIO_SPEED_FREQ_LOW;
  HAL_GPIO_Init(SHDN_GPIO_Port, &GPIO_InitStruct);

}

/* USER CODE BEGIN 4 */
void MCP4922SetOutput(uint8_t Config, uint16_t DACOutput)
{
	uint32_t OutputPacket = (DACOutput & 0x0fff) | ((Config & 0xf) << 12);
	HAL_GPIO_WritePin(SPI_SS_GPIO_Port, SPI_SS_Pin, GPIO_PIN_RESET);
	HAL_SPI_Transmit_IT(&hspi3, &OutputPacket, 1);
}

void HAL_SPI_TxCpltCallback(SPI_HandleTypeDef *hspi)
{
	if (hspi == &hspi3)
	{
		HAL_GPIO_WritePin(SPI_SS_GPIO_Port, SPI_SS_Pin, GPIO_PIN_SET);
	}
}

void HAL_TIM_PeriodElapsedCallback(TIM_HandleTypeDef *htim)
{
	if (htim == &htim11)
	{
		_micro += 65535;
	}
}

inline uint64_t micros()
{
	return htim11.Instance->CNT + _micro;
}

int16_t UARTRecieveIT()
{
	static uint32_t dataPos =0;
	int16_t data=-1;
	if(huart2.RxXferSize - huart2.RxXferCount!=dataPos)
	{
		data=RxDataBuffer[dataPos];
		dataPos= (dataPos+1)%huart2.RxXferSize;
	}
	return data;
}

void HAL_UART_RxCpltCallback(UART_HandleTypeDef *huart)
{
	sprintf(TxDataBuffer, "Received:[%s]\r\n", RxDataBuffer);
	HAL_UART_Transmit(&huart2, (uint8_t*)TxDataBuffer, strlen(TxDataBuffer), 1000);
}
/* USER CODE END 4 */

void Error_Handler(void)
{
	__disable_irq();
	while (1)
	{
	}
}

/************************ (C) COPYRIGHT STMicroelectronics *****END OF FILE****/
